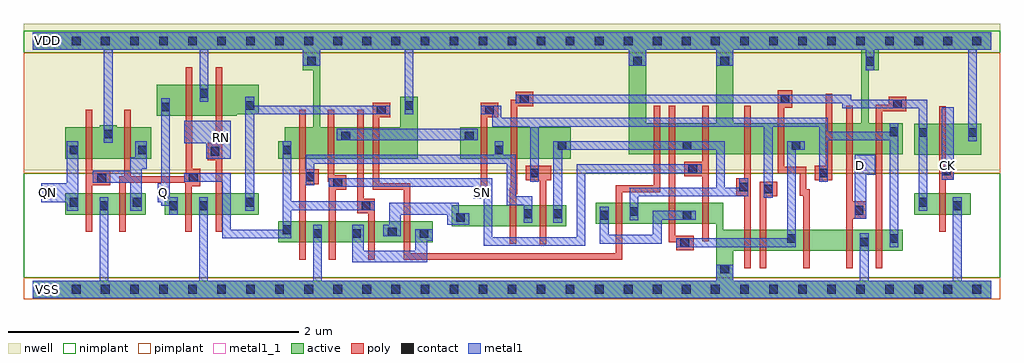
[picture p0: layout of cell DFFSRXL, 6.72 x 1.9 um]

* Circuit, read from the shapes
.subckt DFFSRXL CK D Q QN RN SN VDD VSS
M1 VSS n1 QN VSS nfet w=0.145u l=0.045u
M2 n1 n2 VSS VSS nfet w=0.145u l=0.045u
M3 VSS n2 Q VSS nfet w=0.145u l=0.045u
M4 n3 RN VSS VSS nfet w=0.145u l=0.045u
M5 VSS n4 n2 VSS nfet w=0.145u l=0.045u
M6 n5 SN VSS VSS nfet w=0.145u l=0.045u
M7 n6 n2 n5 VSS nfet w=0.145u l=0.045u
M8 n5 n3 n6 VSS nfet w=0.145u l=0.045u
M9 n4 n7 n6 VSS nfet w=0.145u l=0.045u
M10 n8 n9 n4 VSS nfet w=0.145u l=0.045u
M11 n8 n3 n10 VSS nfet w=0.145u l=0.045u
M12 n10 n11 n8 VSS nfet w=0.145u l=0.045u
M13 VSS SN n10 VSS nfet w=0.145u l=0.045u
M14 n12 n8 VSS VSS nfet w=0.145u l=0.045u
M15 n11 n9 n12 VSS nfet w=0.145u l=0.045u
M16 n13 n7 n11 VSS nfet w=0.145u l=0.045u
M17 VSS D n13 VSS nfet w=0.145u l=0.045u
M18 n9 n7 VSS VSS nfet w=0.145u l=0.045u
M19 VSS CK n7 VSS nfet w=0.145u l=0.045u
M20 VDD n1 QN VDD pfet w=0.215u l=0.045u
M21 n1 n2 VDD VDD pfet w=0.215u l=0.045u
M22 VDD n2 Q VDD pfet w=0.215u l=0.045u
M23 n3 RN VDD VDD pfet w=0.215u l=0.045u
M24 VDD n4 n2 VDD pfet w=0.215u l=0.045u
M25 n14 SN VDD VDD pfet w=0.215u l=0.045u
M26 n15 n2 n14 VDD pfet w=0.215u l=0.045u
M27 VDD n3 n15 VDD pfet w=0.215u l=0.045u
M28 n4 n9 n14 VDD pfet w=0.215u l=0.045u
M29 n8 n7 n4 VDD pfet w=0.215u l=0.045u
M30 n16 n3 VDD VDD pfet w=0.215u l=0.045u
M31 n8 n11 n16 VDD pfet w=0.215u l=0.045u
M32 VDD SN n8 VDD pfet w=0.215u l=0.045u
M33 n17 n8 VDD VDD pfet w=0.215u l=0.045u
M34 n11 n7 n17 VDD pfet w=0.215u l=0.045u
M35 n18 n9 n11 VDD pfet w=0.215u l=0.045u
M36 VDD D n18 VDD pfet w=0.215u l=0.045u
M37 n9 n7 VDD VDD pfet w=0.215u l=0.045u
M38 VDD CK n7 VDD pfet w=0.215u l=0.045u
.ends

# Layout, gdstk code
import gdstk
lib = gdstk.Library(unit=1e-6, precision=5e-10)
def R(c, l, rs):  # rectangles x0, y0, x1, y1
    for r in rs: c.add(gdstk.rectangle(r[:2], r[2:], *l))
def A(c, l, x, y, w, h, nx, ny, dx, dy):  # array of equal rectangles
    R(c, l, [(x+i*dx, y+j*dy, x+i*dx+w, y+j*dy+h) for i in range(nx) for j in range(ny)])
def P(c, l, *ps):  # polygons
    for p in ps: c.add(gdstk.Polygon(p, *l))
active = (1, 0)
nwell = (2, 0)
poly = (3, 0)
nimplant = (4, 0)
pimplant = (5, 0)
contact = (6, 0)
metal1 = (7, 0)
metal1_1 = (7, 1)

dffsrxl = lib.new_cell('DFFSRXL')
R(dffsrxl, active, [(1.69,0.325,2.755,0.47), (2.885,0.435,3.675,0.58), (0.225,0.515,0.78,0.66), (0.91,0.515,1.555,0.66), (6.07,0.515,6.46,0.66), (2.945,0.9,3.705,1.115), (6.07,0.925,6.53,1.14)])
P(dffsrxl, active, [(0,1.77),(6.6,1.77),(6.6,1.65),(5.825,1.65),(5.825,1.51),(5.755,1.51),(5.755,1.145),(5.99,1.145),(5.99,0.93),(4.105,0.93),(4.105,1.65),(4.225,1.65),(4.225,1.145),(4.705,1.145),(4.705,1.65),(4.825,1.65),(4.825,1.145),(5.705,1.145),(5.705,1.65),(1.98,1.65),(1.98,1.115),(2.53,1.115),(2.53,1.325),(2.65,1.325),(2.65,0.9),(1.69,0.9),(1.69,1.02),(1.735,1.02),(1.735,1.115),(1.93,1.115),(1.93,1.51),(1.86,1.51),(1.86,1.65),(0,1.65)],
  [(0.46,1.13),(0.58,1.13),(0.58,1.115),(0.815,1.115),(0.815,0.9),(0.225,0.9),(0.225,1.115),(0.46,1.115)],
  [(0.855,1.41),(1.555,1.41),(1.555,1.205),(1.405,1.205),(1.405,1.195),(0.855,1.195)],
  [(3.875,0.595),(4.755,0.595),(4.755,0.41),(5.99,0.41),(5.99,0.265),(4.825,0.265),(4.825,0.06),(6.6,0.06),(6.6,-0.06),(0,-0.06),(0,0.06),(4.705,0.06),(4.705,0.45),(3.875,0.45)])
R(dffsrxl, nwell, [(-0.06,0.82,6.66,1.83)])
P(dffsrxl, poly, [(0.63,1.235),(0.675,1.235),(0.675,0.78),(1.055,0.78),(1.055,1.53),(1.1,1.53),(1.1,0.83),(1.155,0.83),(1.155,0.71),(1.095,0.71),(1.095,0.395),(1.05,0.395),(1.05,0.735),(0.64,0.735),(0.64,0.395),(0.595,0.395),(0.595,0.78),(0.63,0.78)],
  [(1.26,1.53),(1.305,1.53),(1.305,0.395),(1.26,0.395),(1.26,0.89),(1.205,0.89),(1.205,1.01),(1.26,1.01)],
  [(0.365,1.235),(0.41,1.235),(0.41,0.815),(0.535,0.815),(0.535,0.715),(0.41,0.715),(0.41,0.395),(0.365,0.395)],
  [(1.835,1.235),(1.88,1.235),(1.88,0.825),(1.97,0.825),(1.97,0.725),(1.88,0.725),(1.88,0.205),(1.835,0.205)],
  [(2.34,1.285),(2.46,1.285),(2.46,1.185),(2.385,1.185),(2.385,0.73),(2.6,0.73),(2.6,0.25),(4.015,0.25),(4.015,0.715),(4.275,0.715),(4.275,1.265),(4.32,1.265),(4.32,0.67),(4.06,0.67),(4.06,0.205),(2.555,0.205),(2.555,0.685),(2.34,0.685)],
  [(2.03,1.235),(2.075,1.235),(2.075,0.785),(2.16,0.785),(2.16,0.685),(2.085,0.685),(2.085,0.205),(2.04,0.205),(2.04,0.74),(2.03,0.74)],
  [(2.235,1.235),(2.28,1.235),(2.28,0.625),(2.355,0.625),(2.355,0.205),(2.31,0.205),(2.31,0.525),(2.235,0.525)],
  [(3.325,1.36),(3.445,1.36),(3.445,1.26),(3.335,1.26),(3.335,0.655),(3.33,0.655),(3.33,0.315),(3.285,0.315),(3.285,0.7),(3.29,0.7),(3.29,1.305),(3.325,1.305)],
  [(3.085,1.285),(3.205,1.285),(3.205,1.185),(3.13,1.185),(3.13,0.69),(3.085,0.69)],
  [(4.38,1.265),(4.425,1.265),(4.425,0.37),(4.55,0.37),(4.55,0.27),(4.43,0.27),(4.43,0.325),(4.38,0.325)],
  [(4.61,1.265),(4.655,1.265),(4.655,0.33),(4.61,0.33),(4.61,0.78),(4.485,0.78),(4.485,0.88),(4.61,0.88)],
  [(5.13,1.37),(5.23,1.37),(5.23,1.25),(5.175,1.25),(5.175,0.845),(5.325,0.845),(5.325,0.69),(5.35,0.69),(5.35,0.145),(5.305,0.145),(5.305,0.645),(5.28,0.645),(5.28,0.8),(5.13,0.8)],
  [(4.9,1.265),(4.945,1.265),(4.945,0.145),(4.9,0.145),(4.9,0.645),(4.845,0.645),(4.845,0.765),(4.9,0.765)],
  [(5.46,1.345),(5.505,1.345),(5.505,0.75),(5.385,0.75),(5.385,0.85),(5.46,0.85)],
  [(5.6,1.265),(5.645,1.265),(5.645,0.605),(5.74,0.605),(5.74,0.485),(5.645,0.485),(5.645,0.145),(5.6,0.145)],
  [(5.895,1.325),(6.015,1.325),(6.015,1.225),(5.85,1.225),(5.85,0.145),(5.805,0.145),(5.805,1.27),(5.895,1.27)],
  [(6.24,1.26),(6.285,1.26),(6.285,0.875),(6.34,0.875),(6.34,0.755),(6.285,0.755),(6.285,0.395),(6.24,0.395)],
  [(3.395,0.85),(3.57,0.85),(3.57,0.75),(3.535,0.75),(3.535,0.31),(3.49,0.31),(3.49,0.75),(3.395,0.75)],
  [(5.005,0.74),(5.125,0.74),(5.125,0.64),(5.05,0.64),(5.05,0.145),(5.005,0.145)])
R(dffsrxl, nimplant, [(-0.06,0.08,6.66,0.8), (-0.06,1.63,6.66,1.78)])
R(dffsrxl, pimplant, [(-0.06,-0.07,6.66,0.08), (-0.06,0.8,6.66,1.63)])
A(dffsrxl, contact, 0.07, -0.03, 0.06, 0.06, 33, 2, 0.2, 1.71)
R(dffsrxl, contact, [(4.735,0.11,4.795,0.17), (4.46,0.29,4.52,0.35), (5.695,0.295,5.755,0.355), (5.195,0.32,5.255,0.38), (5.9,0.32,5.96,0.38), (1.93,0.355,1.99,0.415), (2.2,0.355,2.26,0.415), (2.665,0.355,2.725,0.415), (2.445,0.365,2.505,0.425), (1.72,0.38,1.78,0.44), (2.915,0.465,2.975,0.525), (3.905,0.48,3.965,0.54), (4.475,0.48,4.535,0.54), (3.38,0.49,3.44,0.55), (3.585,0.49,3.645,0.55), (4.11,0.505,4.17,0.565), (5.66,0.515,5.72,0.575), (0.46,0.545,0.52,0.605), (0.94,0.545,1,0.605), (1.145,0.545,1.205,0.605), (2.265,0.545,2.325,0.605), (6.335,0.545,6.395,0.605), (0.255,0.57,0.315,0.63), (0.69,0.57,0.75,0.63), (1.465,0.57,1.525,0.63), (6.1,0.57,6.16,0.63), (5.035,0.66,5.095,0.72), (4.865,0.675,4.925,0.735), (2.07,0.705,2.13,0.765), (0.445,0.735,0.505,0.795), (1.075,0.74,1.135,0.8), (1.88,0.745,1.94,0.805), (3.425,0.77,3.485,0.83), (5.415,0.77,5.475,0.83), (6.26,0.785,6.32,0.845), (4.515,0.8,4.575,0.86), (1.225,0.92,1.285,0.98), (0.255,0.93,0.315,0.99), (0.725,0.93,0.785,0.99), (1.72,0.93,1.78,0.99), (3.18,0.93,3.24,0.99), (3.615,0.96,3.675,1.02), (4.475,0.96,4.535,1.02), (5.225,0.96,5.285,1.02), (2.125,1.025,2.185,1.085), (2.975,1.025,3.035,1.085), (0.49,1.04,0.55,1.1), (6.1,1.05,6.16,1.11), (6.44,1.05,6.5,1.11), (5.9,1.055,5.96,1.115), (2.37,1.205,2.43,1.265), (3.115,1.205,3.175,1.265), (0.885,1.225,0.945,1.285), (1.465,1.235,1.525,1.295), (2.56,1.235,2.62,1.295), (5.925,1.245,5.985,1.305), (3.355,1.28,3.415,1.34), (5.15,1.28,5.21,1.34), (1.15,1.32,1.21,1.38), (1.89,1.54,1.95,1.6), (4.135,1.54,4.195,1.6), (4.735,1.54,4.795,1.6), (5.735,1.54,5.795,1.6)])
R(dffsrxl, metal1, [(6.26,0.755,6.34,1.255), (2.095,1.025,3.065,1.105)])
P(dffsrxl, metal1, [(0,1.77),(6.6,1.77),(6.6,1.65),(6.5,1.65),(6.5,1.02),(6.44,1.02),(6.44,1.65),(5.795,1.65),(5.795,1.51),(5.735,1.51),(5.735,1.65),(4.825,1.65),(4.825,1.54),(4.705,1.54),(4.705,1.65),(4.225,1.65),(4.225,1.54),(4.105,1.54),(4.105,1.65),(2.62,1.65),(2.62,1.205),(2.56,1.205),(2.56,1.65),(1.98,1.65),(1.98,1.54),(1.86,1.54),(1.86,1.65),(1.21,1.65),(1.21,1.29),(1.15,1.29),(1.15,1.65),(0.55,1.65),(0.55,1.01),(0.49,1.01),(0.49,1.65),(0,1.65)],
  [(0.885,1.315),(0.945,1.315),(0.945,0.635),(1,0.635),(1,0.515),(0.94,0.515),(0.94,0.575),(0.885,0.575),(0.885,0.6),(0.86,0.6),(0.86,0.73),(0.885,0.73)],
  [(1.465,1.325),(1.525,1.325),(1.525,1.265),(2.46,1.265),(2.46,1.205),(1.525,1.205),(1.525,0.54),(1.465,0.54)],
  [(3.325,1.34),(5.635,1.34),(5.635,1.305),(6.16,1.305),(6.16,0.54),(6.1,0.54),(6.1,1.245),(5.575,1.245),(5.575,1.28),(3.325,1.28)],
  [(0.235,1.02),(0.315,1.02),(0.315,0.54),(0.235,0.54),(0.235,0.6),(0.06,0.6),(0.06,0.73),(0.235,0.73)],
  [(0.705,1.02),(0.785,1.02),(0.785,0.83),(0.75,0.83),(0.75,0.54),(0.67,0.54),(0.67,0.735),(0.415,0.735),(0.415,0.815),(0.67,0.815),(0.67,0.91),(0.705,0.91)],
  [(1.045,1.16),(1.365,1.16),(1.365,0.9),(1.195,0.9),(1.195,1.005),(1.045,1.005)],
  [(0.46,0.635),(0.52,0.635),(0.52,0.06),(1.145,0.06),(1.145,0.635),(1.205,0.635),(1.205,0.06),(1.93,0.06),(1.93,0.445),(1.99,0.445),(1.99,0.06),(4.705,0.06),(4.705,0.17),(4.825,0.17),(4.825,0.06),(5.695,0.06),(5.695,0.385),(5.755,0.385),(5.755,0.06),(6.335,0.06),(6.335,0.635),(6.395,0.635),(6.395,0.06),(6.6,0.06),(6.6,-0.06),(0,-0.06),(0,0.06),(0.46,0.06)],
  [(1.045,0.8),(1.365,0.8),(1.365,0.41),(1.72,0.41),(1.72,1.02),(1.78,1.02),(1.78,0.605),(2.355,0.605),(2.355,0.545),(1.78,0.545),(1.78,0.35),(1.305,0.35),(1.305,0.74),(1.045,0.74)],
  [(3.085,1.265),(3.225,1.265),(3.225,1.18),(5.475,1.18),(5.475,1.085),(5.9,1.085),(5.9,1.145),(5.96,1.145),(5.96,0.29),(5.9,0.29),(5.9,1.025),(5.475,1.025),(5.475,0.74),(5.415,0.74),(5.415,1.12),(5.095,1.12),(5.095,0.63),(5.035,0.63),(5.035,1.12),(3.485,1.12),(3.485,0.74),(3.425,0.74),(3.425,1.12),(3.165,1.12),(3.165,1.205),(3.085,1.205)],
  [(3.18,1.02),(3.24,1.02),(3.24,0.925),(3.325,0.925),(3.325,0.64),(3.44,0.64),(3.44,0.46),(3.38,0.46),(3.38,0.58),(3.265,0.58),(3.265,0.865),(1.94,0.865),(1.94,0.715),(1.88,0.715),(1.88,0.925),(3.18,0.925)],
  [(3.745,0.86),(4.605,0.86),(4.605,0.8),(3.805,0.8),(3.805,0.3),(3.105,0.3),(3.105,0.625),(3.035,0.625),(3.035,0.705),(2.04,0.705),(2.04,0.765),(3.165,0.765),(3.165,0.36),(3.745,0.36)],
  [(2.455,0.595),(2.935,0.595),(2.935,0.525),(3.005,0.525),(3.005,0.445),(2.855,0.445),(2.855,0.515),(2.535,0.515),(2.535,0.365),(2.415,0.365),(2.415,0.445),(2.455,0.445)],
  [(2.2,0.445),(2.28,0.445),(2.28,0.265),(2.635,0.265),(2.635,0.415),(2.755,0.415),(2.755,0.335),(2.715,0.335),(2.715,0.185),(2.2,0.185)],
  [(3.585,1.02),(4.765,1.02),(4.765,0.7),(4.865,0.7),(4.865,0.765),(4.925,0.765),(4.925,0.64),(4.17,0.64),(4.17,0.475),(4.11,0.475),(4.11,0.7),(4.705,0.7),(4.705,0.96),(3.645,0.96),(3.645,0.46),(3.585,0.46)],
  [(3.905,0.57),(3.965,0.57),(3.965,0.375),(4.27,0.375),(4.27,0.54),(4.565,0.54),(4.565,0.48),(4.33,0.48),(4.33,0.315),(3.905,0.315)],
  [(5.195,1.02),(5.315,1.02),(5.315,0.96),(5.255,0.96),(5.255,0.29),(4.43,0.29),(4.43,0.35),(5.195,0.35)],
  [(5.66,0.925),(5.8,0.925),(5.8,0.79),(5.74,0.79),(5.74,0.485),(5.66,0.485)])
R(dffsrxl, metal1_1, [(0.06,-0.04,0.14,0.04), (0.06,0.625,0.14,0.705), (0.86,0.625,0.94,0.705), (3.06,0.625,3.14,0.705), (5.66,0.815,5.74,0.895), (6.26,0.815,6.34,0.895), (1.26,1.005,1.34,1.085), (0.06,1.67,0.14,1.75)])
dffsrxl.add(gdstk.Label('Q', (0.9,0.665), layer=7, texttype=1))
dffsrxl.add(gdstk.Label('QN', (0.1,0.665), layer=7, texttype=1))
dffsrxl.add(gdstk.Label('CK', (6.3,0.855), layer=7, texttype=1))
dffsrxl.add(gdstk.Label('D', (5.7,0.855), layer=7, texttype=1))
dffsrxl.add(gdstk.Label('SN', (3.1,0.665), layer=7, texttype=1))
dffsrxl.add(gdstk.Label('RN', (1.3,1.045), layer=7, texttype=1))
dffsrxl.add(gdstk.Label('VDD', (0.1,1.71), layer=7, texttype=1))
dffsrxl.add(gdstk.Label('VSS', (0.1,0), layer=7, texttype=1))
dffsrxl.add(gdstk.Label('DFFSRXL', (0,0), layer=63, texttype=0))

lib.write_gds('DFFSRXL.gds')
